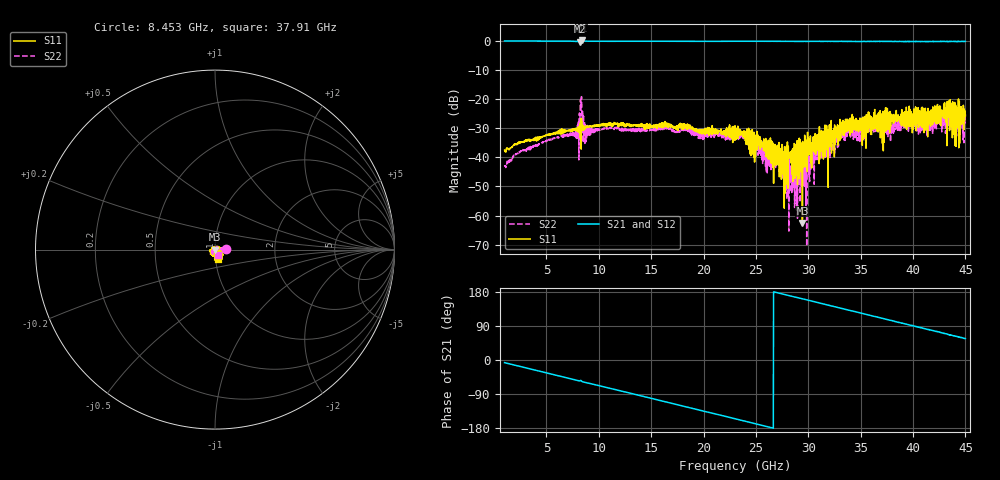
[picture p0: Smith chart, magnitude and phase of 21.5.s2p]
!Keysight Technologies,N5247B,MY61255062,A.19.80.06
!Date: Tuesday, May 26, 2026 11:58:19
!Correction: S11(C  2-Port  )
!S21(C  2-Port  )
!S12(C  2-Port  )
!S22(C  2-Port  )
!S2P File: Measurements: S11, S21, S12, S22:
# Hz S  dB  R 50
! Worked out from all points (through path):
!   1601 points, 1 GHz to 45 GHz, reference 50 ohm
!   highest |S21| = 0.08 dB at 8.342 GHz (marker M1); lowest = -0.4 dB at 8.205 GHz (marker M2)
!   group delay of S21, straight-line fit = 18.7 ps
!   lowest |S11| = -62.6 dB at 29.43 GHz (marker M3), VSWR 1.00, Z = 50.1 - j0.0143 ohm
!   |S11| at or under -10 dB: start of sweep to end of sweep
!   |S22| runs from -70.5 to -19.2 dB; largest |S21 - S12| = 0.02
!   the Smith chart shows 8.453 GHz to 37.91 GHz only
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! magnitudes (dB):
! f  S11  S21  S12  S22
! 1 GHz  -37.6  -0.1  -0.1  -42.7
! 2.595 GHz  -34.9  -0.1  -0.1  -37.8
! 7.875 GHz  -30.1  -0.2  -0.2  -30.1
! 8.205 GHz  -28.5  -0.4  -0.4  -24.5
! 8.342 GHz  -26.7  0.1  0.1  -19.2
! 8.81 GHz  -29.6  -0.2  -0.2  -29.3
! 15.69 GHz  -29.3  -0.2  -0.2  -30.5
! 23 GHz  -29.2  -0.2  -0.2  -32.3
! 24.48 GHz  -31.4  -0.2  -0.2  -33.9
! 27.18 GHz  -41.7  -0.2  -0.2  -40.2
! 27.84 GHz  -41.4  -0.2  -0.2  -46.7
! 28.23 GHz  -39.9  -0.2  -0.2  -52.0
! 28.53 GHz  -48.3  -0.2  -0.3  -44.8
! 29.43 GHz  -62.6  -0.2  -0.2  -41.6
! 29.96 GHz  -38.5  -0.2  -0.2  -44.8
! 30.34 GHz  -35.4  -0.2  -0.2  -38.2
! 30.92 GHz  -33.7  -0.2  -0.2  -39.5
! 33.95 GHz  -27.0  -0.2  -0.3  -31.4
! 37.69 GHz  -30.4  -0.3  -0.2  -31.8
! 42.91 GHz  -26.4  -0.3  -0.2  -28.9
! 44.23 GHz  -23.9  -0.3  -0.2  -25.8
! 45 GHz  -25.9  -0.2  -0.3  -25.0
